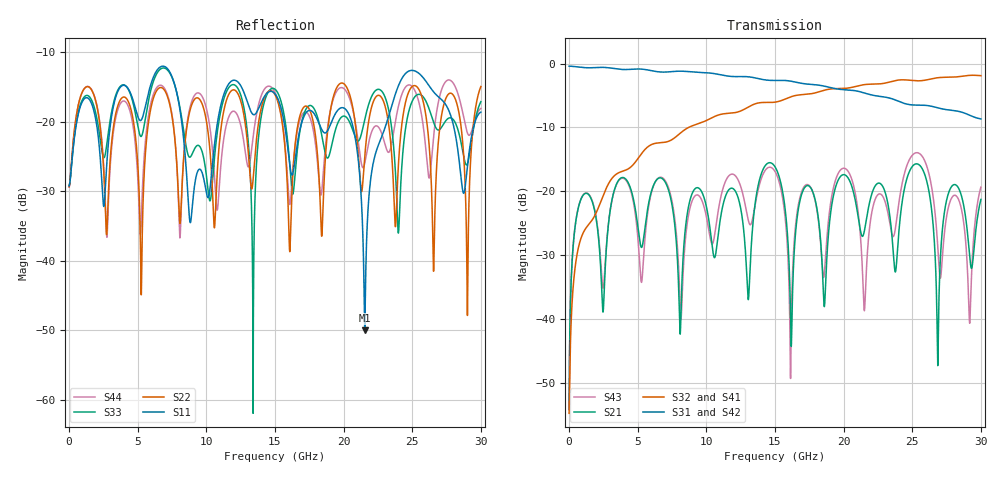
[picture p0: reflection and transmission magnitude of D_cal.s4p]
!diffpair-meanders D_cal (U-bend, dense accordion lengthened by its EM residual), mesh medium
!ports 1 P_near 2 N_near 3 P_far 4 N_far; openEMS FDTD, lumped 50 ohm ports
# Hz S RI R 50.0
! Port[1] = P_near
! Port[2] = N_near
! Port[3] = P_far
! Port[4] = N_far
!freq ReS11 ImS11 ReS12 ImS12 ReS13 ImS13
! ReS14 ImS14
! ReS21 ImS21 ReS22 ImS22 ReS23 ImS23
! ReS24 ImS24
! ReS31 ImS31 ReS32 ImS32 ReS33 ImS33
! ReS34 ImS34
! ReS41 ImS41 ReS42 ImS42 ReS43 ImS43
! ReS44 ImS44
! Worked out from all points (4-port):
!   3000 points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, 10 MHz to 30 GHz, reference 50 ohm
!   strongest paths, dB at 10 MHz, 7.51 GHz, 15.01 GHz, 22.51 GHz, 30 GHz:
!     S31: -0.4, -1.3, -2.6, -5.1, -8.7
!     S42: -0.4, -1.1, -2.7, -5.2, -9.2
!     S32: -54.7, -11.9, -6.0, -3.2, -1.9
!     S41: -54.7, -12.0, -6.0, -3.1, -1.9
!     S21: -54.1, -22.2, -16.2, -18.7, -21.3
!     S43: -54.1, -21.6, -16.9, -20.5, -19.3
!   lowest |S11| = -50.0 dB at 21.54 GHz (marker M1), VSWR 1.01, Z = 49.7 - j0.00269 ohm
!   |S11| at or under -10 dB: start of sweep to end of sweep
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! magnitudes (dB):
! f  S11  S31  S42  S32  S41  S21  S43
! 10 MHz  -29.2  -0.4  -0.4  -54.7  -54.7  -54.1  -54.1
! 3.84 GHz  -14.8  -0.9  -0.9  -16.9  -16.4  -17.8  -17.9
! 16.14 GHz  -27.0  -2.8  -2.8  -5.2  -5.2  -39.8  -49.2
! 20.09 GHz  -18.1  -4.1  -4.4  -3.9  -3.9  -17.4  -16.4
! 21.54 GHz  -50.0  -4.6  -4.7  -3.3  -3.3  -25.9  -38.2
! 24.37 GHz  -13.4  -6.2  -6.3  -2.5  -2.8  -20.3  -17.7
! 30 GHz  -18.6  -8.7  -9.2  -1.9  -1.9  -21.3  -19.3
